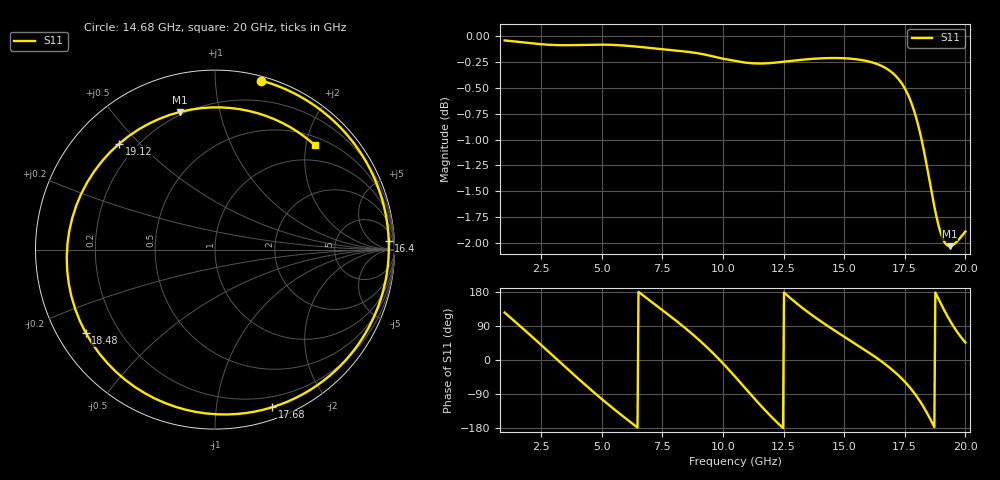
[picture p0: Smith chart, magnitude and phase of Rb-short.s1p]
! Touchstone file from project TestMultiLine
! Exported from HFSS 14.0.0
! Variables:
!  gap = 0mm
!  hair = 35mm
!  hsub = 0.762mm
!  l = 28mm
!  lair = 40mm
!  lmic = 14mm
!  w = 25mm
!  wair = 40mm
!  wmic = 2.1mm
!Data is not renormalized
# GHZ S MA
! Modal data exported
! Port[1] = 1:1
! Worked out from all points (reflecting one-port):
!   476 points, 1 GHz to 20 GHz, reference per port
!   lowest |S11| = -2.0 dB at 19.36 GHz (marker M1), VSWR 8.59
!   phase of S11 starts at 125 deg and turns -1159 deg over the sweep
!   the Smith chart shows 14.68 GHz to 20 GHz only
!   S11 on the Smith chart (normalised r, x): 14.68 GHz: 0.03, +1.31; 16.4 GHz: 19, +29; 17.68 GHz: 0.10, -1.42; 18.48 GHz: 0.08, -0.29; 19.12 GHz: 0.14, +0.44; 20 GHz: 0.66, +2.18
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1  0.9954 125.2
2.08  0.9923 64.4
2.76  0.9907 25.0
3.4  0.9901 -12.4
4.6  0.9907 -80.9
5.76  0.99 -142.4
6.88  0.9874 162.3
8.16  0.984 99.2
8.84  0.9818 62.9
9.56  0.978 20.1
10.52  0.9729 -45.1
11  0.9709 -80.0
11.44  0.9701 -111.8
12.16  0.9711 -160.1
12.88  0.9732 158.0
13.76  0.9753 114.5
14.68  0.9761 74.7
15.28  0.9753 50.2
16.4  0.9692 2.8
17.04  0.959 -29.1
17.64  0.9366 -67.2
17.68  0.9343 -70.1
18.08  0.9031 -104.2
18.48  0.8566 -147.2
18.8  0.8186 172.8
19.12  0.7958 132.2
19.36  0.7915 104.3
20  0.8045 46.2
